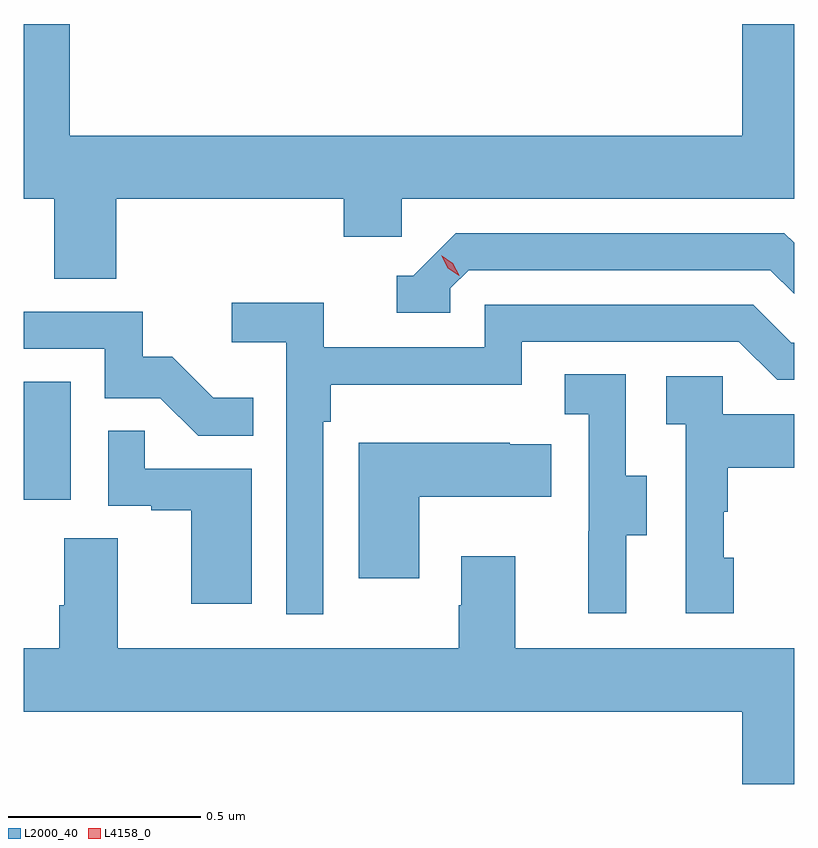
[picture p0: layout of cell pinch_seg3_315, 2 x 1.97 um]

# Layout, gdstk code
import gdstk
lib = gdstk.Library(unit=1e-6, precision=1e-09)
def R(c, l, rs):  # rectangles x0, y0, x1, y1
    for r in rs: c.add(gdstk.rectangle(r[:2], r[2:], *l))
def P(c, l, *ps):  # polygons
    for p in ps: c.add(gdstk.Polygon(p, *l))
L2000_40 = (2000, 40)
L4158_0 = (4158, 0)

pinch_seg3_315 = lib.new_cell('pinch_seg3_315')
R(pinch_seg3_315, L2000_40, [(1002.303,710.79,1002.424,711.097)])
P(pinch_seg3_315, L2000_40, [(1002.542,711.572),(1003.133,711.572),(1003.133,711.474),(1003.284,711.474),(1003.284,711.572),(1004.303,711.572),(1004.303,712.026),(1004.168,712.026),(1004.168,711.736),(1002.422,711.736),(1002.422,712.026),(1002.303,712.026),(1002.303,711.572),(1002.382,711.572),(1002.382,711.364),(1002.542,711.364)],
  [(1003.41,711.339),(1003.458,711.387),(1004.241,711.387),(1004.303,711.325),(1004.303,711.458),(1004.278,711.483),(1003.425,711.483),(1003.314,711.372),(1003.271,711.372),(1003.271,711.276),(1003.41,711.276)],
  [(1003.08,710.993),(1003.1,710.993),(1003.1,711.089),(1003.596,711.089),(1003.596,711.201),(1004.16,711.201),(1004.259,711.102),(1004.303,711.102),(1004.303,711.198),(1004.296,711.198),(1004.197,711.297),(1003.5,711.297),(1003.5,711.186),(1003.082,711.186),(1003.082,711.302),(1002.843,711.302),(1002.843,711.2),(1002.984,711.2),(1002.984,710.493),(1003.08,710.493)],
  [(1002.899,711.055),(1002.795,711.055),(1002.688,711.162),(1002.612,711.162),(1002.612,711.279),(1002.303,711.279),(1002.303,711.183),(1002.513,711.183),(1002.513,711.054),(1002.657,711.054),(1002.755,710.956),(1002.899,710.956)],
  [(1003.867,710.698),(1003.921,710.698),(1003.921,710.853),(1003.866,710.853),(1003.866,711.116),(1003.707,711.116),(1003.707,711.013),(1003.77,711.013),(1003.77,710.709),(1003.769,710.709),(1003.769,710.496),(1003.867,710.496)],
  [(1004.146,710.64),(1004.121,710.64),(1004.121,710.759),(1004.131,710.759),(1004.131,710.873),(1004.303,710.873),(1004.303,711.013),(1004.118,711.013),(1004.118,711.111),(1003.971,711.111),(1003.971,710.987),(1004.022,710.987),(1004.022,710.496),(1004.146,710.496)],
  [(1002.895,710.871),(1002.617,710.871),(1002.617,710.969),(1002.522,710.969),(1002.522,710.775),(1002.633,710.775),(1002.633,710.763),(1002.737,710.763),(1002.737,710.52),(1002.895,710.52)],
  [(1003.33,710.798),(1003.673,710.798),(1003.673,710.935),(1003.565,710.935),(1003.565,710.938),(1003.172,710.938),(1003.172,710.586),(1003.33,710.586)],
  [(1004.303,710.404),(1003.579,710.404),(1003.579,710.644),(1003.439,710.644),(1003.439,710.516),(1003.432,710.516),(1003.432,710.404),(1002.547,710.404),(1002.547,710.69),(1002.407,710.69),(1002.407,710.516),(1002.395,710.516),(1002.395,710.404),(1002.303,710.404),(1002.303,710.24),(1004.168,710.24),(1004.168,710.052),(1004.303,710.052)])
P(pinch_seg3_315, L4158_0, [(1003.433,711.372),(1003.403,711.392),(1003.387,711.425),(1003.387,711.425),(1003.387,711.425),(1003.417,711.405),(1003.433,711.373),(1003.433,711.372)])

lib.write_gds('pinch_seg3_315.gds')
